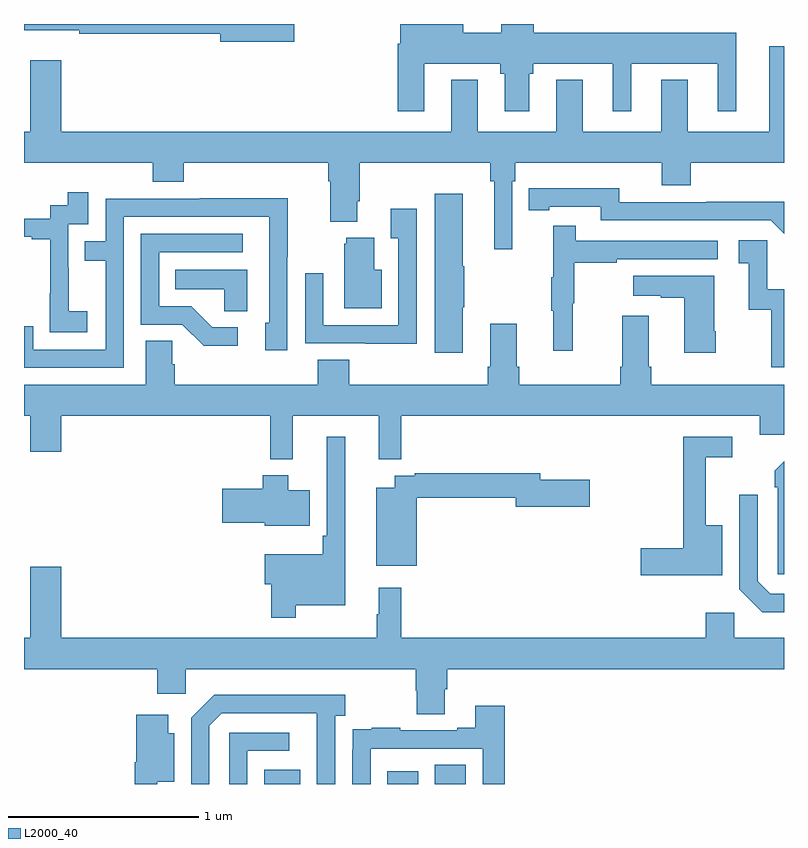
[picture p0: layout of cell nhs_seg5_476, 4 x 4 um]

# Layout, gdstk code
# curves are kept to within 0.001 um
import gdstk
lib = gdstk.Library(unit=1e-6, precision=1e-09)
def R(c, l, rs):  # rectangles x0, y0, x1, y1
    for r in rs: c.add(gdstk.rectangle(r[:2], r[2:], *l))
def P(c, l, *ps):  # polygons
    for p in ps: c.add(gdstk.Polygon(p, *l))
L2000_40 = (2000, 40)

nhs_seg5_476 = lib.new_cell('nhs_seg5_476')
R(nhs_seg5_476, L2000_40, [(142.265,878.799,142.453,878.875), (142.913,878.799,143.074,878.866), (143.162,878.799,143.326,878.9)])
P(nhs_seg5_476, L2000_40, [(143.107,882.59),(143.506,882.59),(143.506,882.537),(143.531,882.537),(143.531,882.339),(143.659,882.339),(143.659,882.537),(143.679,882.537),(143.679,882.59),(144.098,882.59),(144.098,882.339),(144.196,882.339),(144.196,882.59),(144.65,882.59),(144.65,882.339),(144.748,882.339),(144.748,882.754),(143.684,882.754),(143.684,882.799),(143.513,882.799),(143.513,882.754),(143.311,882.754),(143.311,882.799),(142.979,882.799),(142.979,882.694),(142.967,882.694),(142.967,882.339),(143.107,882.339)],
  [(142.423,882.799),(141,882.799),(141,882.767),(141.292,882.767),(141.292,882.748),(142.034,882.748),(142.034,882.706),(142.423,882.706)],
  [(143.571,881.972),(143.585,881.972),(143.585,882.068),(144.356,882.068),(144.356,881.951),(144.509,881.951),(144.509,882.068),(145,882.068),(145,882.682),(144.923,882.682),(144.923,882.232),(144.493,882.232),(144.493,882.505),(144.353,882.505),(144.353,882.232),(143.941,882.232),(143.941,882.505),(143.801,882.505),(143.801,882.232),(143.389,882.232),(143.389,882.505),(143.249,882.505),(143.249,882.232),(141.196,882.232),(141.196,882.607),(141.032,882.607),(141.032,882.232),(141,882.232),(141,882.068),(141.677,882.068),(141.677,881.969),(141.842,881.969),(141.842,882.068),(142.601,882.068),(142.601,881.972),(142.613,881.972),(142.613,881.759),(142.753,881.759),(142.753,881.866),(142.766,881.866),(142.766,882.068),(143.455,882.068),(143.455,881.972),(143.474,881.972),(143.474,881.613),(143.571,881.613)],
  [(145,881.864),(144.592,881.864),(144.592,881.862),(144.132,881.862),(144.132,881.935),(143.656,881.934),(143.656,881.818),(143.764,881.818),(143.764,881.838),(144.036,881.838),(144.036,881.766),(144.93,881.766),(145,881.696)],
  [(141.334,881.287),(141.236,881.287),(141.236,881.516),(141.234,881.516),(141.234,881.745),(141.339,881.745),(141.339,881.914),(141.231,881.914),(141.231,881.844),(141.138,881.844),(141.138,881.775),(141,881.775),(141,881.679),(141.041,881.679),(141.041,881.667),(141.137,881.667),(141.137,881.383),(141.136,881.383),(141.136,881.177),(141.334,881.177)],
  [(143.308,881.308),(143.316,881.308),(143.316,881.525),(143.308,881.525),(143.308,881.905),(143.162,881.905),(143.162,881.07),(143.308,881.07)],
  [(141.525,881.784),(142.29,881.784),(142.29,881.226),(142.271,881.226),(142.271,881.082),(142.386,881.082),(142.386,881.575),(142.389,881.575),(142.389,881.882),(141.925,881.882),(141.925,881.88),(141.429,881.88),(141.429,881.655),(141.319,881.655),(141.319,881.554),(141.429,881.554),(141.429,881.085),(141.048,881.085),(141.048,881.208),(141,881.208),(141,880.989),(141.525,880.989)],
  [(143.067,881.827),(142.931,881.827),(142.931,881.671),(142.971,881.671),(142.971,881.214),(142.575,881.214),(142.575,881.488),(142.479,881.488),(142.479,881.118),(142.795,881.118),(142.795,881.117),(143.067,881.117)],
  [(143.888,881.328),(143.896,881.328),(143.896,881.542),(144.119,881.542),(144.119,881.562),(144.652,881.562),(144.652,881.658),(143.903,881.658),(143.903,881.737),(143.786,881.737),(143.786,881.465),(143.775,881.465),(143.775,881.291),(143.786,881.291),(143.786,881.079),(143.888,881.079)],
  [(142.126,881.202),(141.991,881.202),(141.88,881.313),(141.711,881.313),(141.711,881.598),(142.15,881.598),(142.15,881.694),(141.615,881.694),(141.615,881.217),(141.834,881.217),(141.947,881.105),(142.126,881.105)],
  [(142.882,881.506),(142.843,881.506),(142.843,881.674),(142.697,881.674),(142.697,881.643),(142.685,881.643),(142.685,881.303),(142.882,881.303)],
  [(145,881.403),(144.912,881.403),(144.912,881.662),(144.762,881.662),(144.762,881.541),(144.815,881.541),(144.815,881.295),(144.933,881.295),(144.933,880.992),(145,880.992)],
  [(142.174,881.506),(141.796,881.506),(141.796,881.402),(142.053,881.402),(142.053,881.287),(142.174,881.287)],
  [(144.642,881.182),(144.634,881.182),(144.634,881.473),(144.207,881.473),(144.207,881.369),(144.35,881.369),(144.35,881.359),(144.476,881.359),(144.476,881.07),(144.642,881.07)],
  [(141,880.736),(141.032,880.736),(141.032,880.548),(141.196,880.548),(141.196,880.736),(142.297,880.736),(142.297,880.508),(142.415,880.508),(142.415,880.736),(142.868,880.736),(142.868,880.507),(142.985,880.507),(142.985,880.736),(144.872,880.736),(144.872,880.638),(145,880.638),(145,880.9),(144.302,880.9),(144.302,880.996),(144.289,880.996),(144.289,881.263),(144.149,881.263),(144.149,880.996),(144.137,880.996),(144.137,880.9),(143.606,880.9),(143.606,880.996),(143.593,880.996),(143.593,881.221),(143.453,881.221),(143.453,880.996),(143.441,880.996),(143.441,880.9),(142.712,880.9),(142.712,881.033),(142.547,881.033),(142.547,880.9),(141.794,880.9),(141.794,881.009),(141.78,881.009),(141.78,881.132),(141.641,881.132),(141.641,880.9),(141,880.9)],
  [(142.429,879.74),(142.69,879.74),(142.69,880.627),(142.593,880.627),(142.593,880.105),(142.573,880.105),(142.573,880.009),(142.266,880.009),(142.266,879.851),(142.3,879.851),(142.3,879.675),(142.429,879.675)],
  [(144.676,880.162),(144.587,880.162),(144.587,880.518),(144.727,880.518),(144.727,880.626),(144.469,880.626),(144.469,880.04),(144.246,880.04),(144.246,879.898),(144.676,879.898)],
  [(145,880.498),(144.951,880.449),(144.951,880.361),(144.966,880.361),(144.966,879.903),(145,879.903)],
  [(143.068,880.306),(143.588,880.306),(143.588,880.259),(143.977,880.259),(143.977,880.401),(143.716,880.401),(143.716,880.435),(143.056,880.435),(143.056,880.422),(142.952,880.422),(142.952,880.357),(142.853,880.357),(142.853,879.947),(143.068,879.947)],
  [(142.504,880.345),(142.39,880.345),(142.39,880.423),(142.256,880.423),(142.256,880.353),(142.044,880.353),(142.044,880.175),(142.268,880.175),(142.268,880.157),(142.504,880.157)],
  [(145,879.801),(144.927,879.801),(144.861,879.867),(144.861,880.321),(144.765,880.321),(144.765,879.825),(144.886,879.704),(145,879.704)],
  [(143.215,879.298),(143.228,879.298),(143.228,879.404),(145,879.404),(145,879.568),(144.738,879.568),(144.738,879.7),(144.587,879.7),(144.587,879.568),(142.985,879.568),(142.985,879.832),(142.868,879.832),(142.868,879.692),(142.857,879.692),(142.857,879.568),(141.196,879.568),(141.196,879.943),(141.032,879.943),(141.032,879.568),(141,879.568),(141,879.404),(141.701,879.404),(141.701,879.273),(141.852,879.273),(141.852,879.404),(143.063,879.404),(143.063,879.291),(143.068,879.291),(143.068,879.166),(143.215,879.166)],
  [(141.975,879.105),(142.041,879.171),(142.541,879.171),(142.542,878.799),(142.638,878.799),(142.638,879.158),(142.69,879.158),(142.69,879.268),(142,879.268),(141.879,879.147),(141.879,878.799),(141.975,878.799)],
  [(142.824,878.985),(143.415,878.985),(143.415,878.799),(143.531,878.799),(143.531,879.211),(143.375,879.211),(143.375,879.094),(143.279,879.094),(143.279,879.081),(142.979,879.081),(142.979,879.094),(142.831,879.094),(142.831,879.087),(142.729,879.087),(142.729,878.978),(142.728,878.978),(142.728,878.799),(142.824,878.799)],
  [(141.701,878.81),(141.79,878.81),(141.79,879.067),(141.76,879.067),(141.76,879.163),(141.59,879.163),(141.59,878.914),(141.583,878.914),(141.583,878.799),(141.701,878.799)],
  [(142.176,878.973),(142.396,878.973),(142.396,879.069),(142.08,879.069),(142.08,878.799),(142.176,878.799)])

lib.write_gds('nhs_seg5_476.gds')
